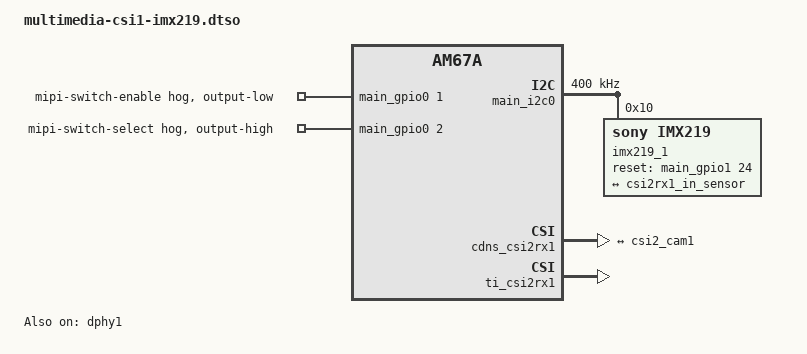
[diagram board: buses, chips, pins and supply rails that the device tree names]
// SPDX-License-Identifier: GPL-2.0
/*
 * DT Overlay for RPi Camera V2.1 on CSI1 J722S BeagleY-AI board.
 *
 * Copyright (C) 2023 Texas Instruments Incorporated - https://www.ti.com/
 *
 * Schematics: https://datasheets.raspberrypi.com/camera/camera-v2-schematics.pdf
 */

/dts-v1/;
/plugin/;

/ { compatible = "beagle,am67a-beagley-ai"; };

#include <dt-bindings/gpio/gpio.h>
#include <arm64/ti/k3-pinctrl.h>


&{/} {

	clk_csi1_imx219_fixed: csi1-imx219-xclk {
		compatible = "fixed-clock";
		#clock-cells = <0>;
		clock-frequency = <24000000>;
	};
};

&main_gpio1 {
    status = "okay";
};

&main_i2c0 {
	status = "okay";
	pinctrl-names = "default";
	pinctrl-0 = <&main_i2c0_pins_default>;
	clock-frequency = <400000>;

	#address-cells = <1>;
	#size-cells = <0>;

	imx219_1: sensor@10 {
		compatible = "sony,imx219";
		reg = <0x10>;

		clocks = <&clk_csi1_imx219_fixed>;
		clock-names = "xclk";

		pinctrl-names = "default";
		pinctrl-0 = <&csi1_gpio_pins_default>;

		reset-gpios = <&main_gpio1 24 GPIO_ACTIVE_HIGH>;

		port {
			csi2_cam1: endpoint {
				remote-endpoint = <&csi2rx1_in_sensor>;
				link-frequencies = /bits/ 64 <456000000>;
				clock-lanes = <0>;
				data-lanes = <1 2>;
			};
		};
	};
};

&cdns_csi2rx1 {
	ports {
		#address-cells = <1>;
		#size-cells = <0>;

		csi1_port0: port@0 {
			reg = <0>;
			status = "okay";

			csi2rx1_in_sensor: endpoint {
				remote-endpoint = <&csi2_cam1>;
				bus-type = <4>; /* CSI2 DPHY */
				clock-lanes = <0>;
				data-lanes = <1 2>;
			};
		};
	};
};

&ti_csi2rx1 {
	status = "okay";
};

&dphy1 {
	status = "okay";
};

&main_pmx0 {
 csi1_gpio_pins_default: csi1-reset-pins { pinctrl-single,pins = <J722S_IOPAD(0x01d8, PIN_OUTPUT, 7)>; };
};


/* Board mux wiring from BeagleBoard ac5c6fe561c328dc989be8c9e45c31ad775abba9.
 * GPIO hogs hold the selected function for the lifetime of this profile.
 */
&main_pmx0 {
 mipi_switch_pins: mipi-switch-pins {
  pinctrl-single,pins = <
   J722S_IOPAD(0x0004, PIN_OUTPUT, 7)
   J722S_IOPAD(0x0008, PIN_OUTPUT, 7)
  >;
 };
};
&main_gpio0 {
 pinctrl-names = "default";
 pinctrl-0 = <&mipi_switch_pins>;
 mipi-enable-hog {
  gpio-hog;
  gpios = <1 GPIO_ACTIVE_HIGH>;
  output-low;
  line-name = "mipi-switch-enable";
 };
 mipi-select-hog {
  gpio-hog;
  gpios = <2 GPIO_ACTIVE_HIGH>;
  output-high;
  line-name = "mipi-switch-select";
 };
};
